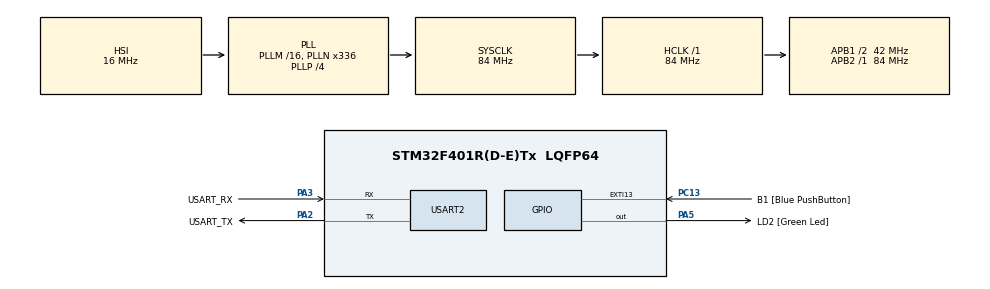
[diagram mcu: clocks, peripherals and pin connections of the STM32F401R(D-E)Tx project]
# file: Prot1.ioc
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Dma.Request0=USART2_RX
Dma.Request1=USART2_TX
Dma.USART2_RX.0.Direction=DMA_PERIPH_TO_MEMORY
Dma.USART2_RX.0.FIFOMode=DMA_FIFOMODE_DISABLE
Dma.USART2_RX.0.Instance=DMA1_Stream5
Dma.USART2_RX.0.MemDataAlignment=DMA_MDATAALIGN_BYTE
Dma.USART2_RX.0.MemInc=DMA_MINC_ENABLE
Dma.USART2_RX.0.Mode=DMA_NORMAL
Dma.USART2_RX.0.PeriphDataAlignment=DMA_PDATAALIGN_BYTE
Dma.USART2_RX.0.PeriphInc=DMA_PINC_DISABLE
Dma.USART2_RX.0.Priority=DMA_PRIORITY_LOW
Dma.USART2_TX.1.Direction=DMA_MEMORY_TO_PERIPH
Dma.USART2_TX.1.FIFOMode=DMA_FIFOMODE_DISABLE
Dma.USART2_TX.1.Instance=DMA1_Stream6
Dma.USART2_TX.1.MemDataAlignment=DMA_MDATAALIGN_BYTE
Dma.USART2_TX.1.MemInc=DMA_MINC_ENABLE
Dma.USART2_TX.1.Mode=DMA_NORMAL
Dma.USART2_TX.1.PeriphDataAlignment=DMA_PDATAALIGN_BYTE
Dma.USART2_TX.1.PeriphInc=DMA_PINC_DISABLE
Dma.USART2_TX.1.Priority=DMA_PRIORITY_LOW
Mcu.Family=STM32F4
Mcu.Name=STM32F401R(D-E)Tx
Mcu.Package=LQFP64
NVIC.DMA1_Stream5_IRQn=true\:0\:0\:false\:false\:true\:false\:true\:true
NVIC.DMA1_Stream6_IRQn=true\:0\:0\:false\:false\:true\:false\:true\:true
NVIC.PriorityGroup=NVIC_PRIORITYGROUP_0
NVIC.TIM3_IRQn=true\:0\:0\:false\:false\:true\:true\:true\:true
NVIC.USART2_IRQn=true\:0\:0\:false\:false\:true\:true\:true\:true
PA13.GPIO_Label=TMS
PA13.Mode=Serial_Wire
PA13.Signal=SYS_JTMS-SWDIO
PA14.GPIO_Label=TCK
PA14.Mode=Serial_Wire
PA14.Signal=SYS_JTCK-SWCLK
PA2.GPIO_Label=USART_TX
PA2.GPIO_Mode=GPIO_MODE_AF_PP
PA2.GPIO_PuPd=GPIO_NOPULL
PA2.GPIO_Speed=GPIO_SPEED_FREQ_LOW
PA2.Mode=Asynchronous
PA2.Signal=USART2_TX
PA3.GPIO_Label=USART_RX
PA3.GPIO_Mode=GPIO_MODE_AF_PP
PA3.GPIO_PuPd=GPIO_NOPULL
PA3.GPIO_Speed=GPIO_SPEED_FREQ_LOW
PA3.Mode=Asynchronous
PA3.Signal=USART2_RX
PA5.GPIO_Label=LD2 [Green Led]
PA5.GPIO_Mode=GPIO_MODE_OUTPUT_PP
PA5.GPIO_PuPd=GPIO_NOPULL
PA5.GPIO_Speed=GPIO_SPEED_FREQ_LOW
PA5.Signal=GPIO_Output
PB3.GPIO_Label=SWO
PB3.Signal=SYS_JTDO-SWO
PC13-ANTI_TAMP.GPIO_Label=B1 [Blue PushButton]
PC13-ANTI_TAMP.GPIO_ModeDefaultEXTI=GPIO_MODE_IT_FALLING
PC13-ANTI_TAMP.GPIO_PuPd=GPIO_NOPULL
PC13-ANTI_TAMP.Signal=GPXTI13
PC14-OSC32_IN.Mode=LSE-External-Oscillator
PC14-OSC32_IN.Signal=RCC_OSC32_IN
PC15-OSC32_OUT.Mode=LSE-External-Oscillator
PC15-OSC32_OUT.Signal=RCC_OSC32_OUT
PH0\ -\ OSC_IN.Mode=HSE-External-Clock-Source
PH0\ -\ OSC_IN.Signal=RCC_OSC_IN
PH1\ -\ OSC_OUT.Mode=HSE-External-Clock-Source
PH1\ -\ OSC_OUT.Signal=RCC_OSC_OUT
ProjectManager.HeapSize=0x200
ProjectManager.StackSize=0x400
ProjectManager.TargetToolchain=STM32CubeIDE
RCC.48MHZClocksFreq_Value=48000000
RCC.AHBFreq_Value=84000000
RCC.APB1CLKDivider=RCC_HCLK_DIV2
RCC.APB1Freq_Value=42000000
RCC.APB1TimFreq_Value=84000000
RCC.APB2Freq_Value=84000000
RCC.APB2TimFreq_Value=84000000
RCC.CortexFreq_Value=84000000
RCC.HCLKFreq_Value=84000000
RCC.HSE_VALUE=8000000
RCC.HSI_VALUE=16000000
RCC.PLLN=336
RCC.PLLP=RCC_PLLP_DIV4
RCC.PLLQ=7
RCC.SYSCLKFreq_VALUE=84000000
RCC.SYSCLKSource=RCC_SYSCLKSOURCE_PLLCLK
RCC.VCOOutputFreq_Value=336000000
TIM3.Period=8400
TIM3.Prescaler=100
USART2.VirtualMode=VM_ASYNC
VP_TIM3_VS_ClockSourceINT.Mode=Internal
board=NUCLEO-F401RE

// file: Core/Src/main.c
/* USER CODE BEGIN Header */
/**
  ******************************************************************************
  * @file           : main.c
  * @brief          : Main program body
  ******************************************************************************
  * @attention
  *
  * Copyright (c) 2023 STMicroelectronics.
  * All rights reserved.
  *
  * This software is licensed under terms that can be found in the LICENSE file
  * in the root directory of this software component.
  * If no LICENSE file comes with this software, it is provided AS-IS.
  *
  ******************************************************************************
  */
/* USER CODE END Header */
#include "main.h"

/* USER CODE BEGIN PTD */
typedef union{
    struct{
        uint8_t b0:1;
        uint8_t b1:1;
        uint8_t b2:1;
        uint8_t b3:1;
        uint8_t b4:1;
        uint8_t b5:1;
        uint8_t b6:1;
        uint8_t b7:1;
    }bit;
    uint8_t byte;
}flag;

/* USER CODE END PTD */

/* USER CODE BEGIN PM */
const char UNER[]="UNER";

#define CMD_ALIVE 0xD2
#define CMD_SENSORS 0xA0
#define CMD_MAG_SENSOR 0xA1
#define CMD_RFID_SENSOR 0xA2
#define CMD_EMERGENCY_STOP 0xB0

#define ALIVERECIVE flag1.bit.b0 //RECIBIO alive
#define SENSORS_RECIVE flag1.bit.b1 //RECIBIO COMANDO PARA ENVIAR VALORES SENSORES CADA CIERTO TIEMPO
#define FLAG2 flag1.bit.b2 //FLAG2
#define FLAG3 flag1.bit.b3 //FLAG3

/* USER CODE END PM */

TIM_HandleTypeDef htim3;

UART_HandleTypeDef huart2;
DMA_HandleTypeDef hdma_usart2_rx;
DMA_HandleTypeDef hdma_usart2_tx;

/* USER CODE BEGIN PV */

volatile flag flag1;

volatile uint8_t buffer_tx[256];

volatile uint8_t buffer_rx[256];

volatile uint8_t indR_rx = 0;
volatile uint8_t indW_rx = 0;

volatile uint8_t indR_tx = 0;
volatile uint8_t indW_tx = 0;
volatile uint8_t cksTX = 0;

volatile uint8_t listoSend = 0;

uint8_t timeoutSENSORS = 0;
uint8_t timeoutALIVE = 0;
uint16_t size=0;

uint32_t cmdUNERprotocol;
uint8_t bytesUNERprotocol;
/* USER CODE END PV */

void SystemClock_Config(void);
static void MX_GPIO_Init(void);
static void MX_DMA_Init(void);
static void MX_USART2_UART_Init(void);
static void MX_TIM3_Init(void);
/* USER CODE BEGIN PFP */
void HAL_UART_RxCpltCallback(UART_HandleTypeDef *huart);
void HAL_TIM_PeriodElapsedCallback(TIM_HandleTypeDef *htim);
void DecodeQT();
void DecodeCommands(uint8_t *buffer, uint8_t indexCMD);
void SendData(uint8_t cmd);
void uart();
/* USER CODE END PFP */

/* USER CODE BEGIN 0 */

void HAL_UART_RxCpltCallback(UART_HandleTypeDef *huart){ //funcion para saber cuando una transferencia se completo

	indW_rx++;
	HAL_UART_Receive_IT(&huart2, (uint8_t *) &buffer_rx[indW_rx], 1);
	//HAL_UART_Transmit_IT(&huart2, buffer_tx, strlen((char*)buffer_tx));
}

void HAL_TIM_PeriodElapsedCallback(TIM_HandleTypeDef *htim){

	//HAL_GPIO_TogglePin(LD2_GPIO_Port, LD2_Pin);
	//HAL_UART_Transmit_IT(&huart2, buffer_tx, strlen((char*)buffer_tx));
	if(SENSORS_RECIVE && timeoutSENSORS){
		timeoutSENSORS--;
	}
	timeoutALIVE--;
}

void uart(){

		/*if((huart2.Instance->SR & UART_FLAG_TXE)==UART_FLAG_TXE){
			huart2.Instance->DR=buffer_tx[indR_tx];
			indR_tx++;
		}*/
/*
	if(indW_tx > indR_tx){
			size = indW_tx - indR_tx;
	}else{
			size = 256 - indR_tx;
	}
	HAL_UART_Transmit_IT(&huart2, (uint8_t *) &buffer_tx, size);
	indR_tx++;*/
	        HAL_UART_Transmit_IT(&huart2, (uint8_t *) &buffer_tx[indR_tx], size);
	        indR_tx = indW_tx;
}

void DecodeQT(){
	static uint8_t i=0,step=0,cksQT,counter=1,cmdPosInBuff;

	switch(step){
		case 0:
			if(buffer_rx[indR_rx]==UNER[i]){
				i++;
				if(i==4){
					step++;
					i=0;
					//cksQT='U'^'N'^'E'^'R';
				}
			}else
				i=0;

			break;
		case 1:
			//HAL_GPIO_TogglePin(LD2_GPIO_Port, LD2_Pin);
			bytesUNERprotocol=buffer_rx[indR_rx];
			step++;
			//cksQT^=bytesUNERprotocol;
			break;
		case 2:
			if(buffer_rx[indR_rx]== 0x00){
				step++;
			}else{
				step=0;
			}
			break;
		case 3:
			if(buffer_rx[indR_rx]==':'){
				cksQT='U'^'N'^'E'^'R'^bytesUNERprotocol^0x00^':';
				step++;
				//HAL_GPIO_TogglePin(LD2_GPIO_Port, LD2_Pin);
			}else{
				step=0;
			}
			break;
		case 4:
			if(counter==1)
				cmdPosInBuff = indR_rx;
			if(counter<bytesUNERprotocol){
				cksQT^=buffer_rx[indR_rx];
				counter++;
			}else{
				if(cksQT==buffer_rx[indR_rx]){
					DecodeCommands((uint8_t*)&buffer_rx, cmdPosInBuff);
					//HAL_UART_Transmit_IT(&huart2, (uint8_t *) &buffer_tx, strlen((char*)buffer_tx));
					HAL_GPIO_TogglePin(LD2_GPIO_Port, LD2_Pin);
				}
				step=0;
				counter=1;
			}
			break;
	}
	indR_rx++;
}

void DecodeCommands(uint8_t *buffer, uint8_t indexCMD){

	switch(buffer[indexCMD]){
		case 0xA2://Enviar datos de sensor RFID a pantalla

		break;
		case 0xA1: //Enviar datos de sensor mag a pantalla

		break;
		case 0xA0:	//Enviar datos de sensores a pantalla
			timeoutSENSORS = 4;
			SENSORS_RECIVE = 1;
		break;
		case CMD_ALIVE: //ALIVE
			SendData(CMD_ALIVE);
		break;

		case 0xB0://Parada de emergencia
		break;
	}
}
void SendData(uint8_t cmd){

		buffer_tx[indW_tx++]='U';
		buffer_tx[indW_tx++]='N';
		buffer_tx[indW_tx++]='E';
		buffer_tx[indW_tx++]='R';

		switch(cmd){
			case CMD_ALIVE:
				buffer_tx[indW_tx++] = 0x02;
				buffer_tx[indW_tx++] = 0x00;
				buffer_tx[indW_tx++] = ':';
				buffer_tx[indW_tx++] = cmd;
			break;
			case CMD_MAG_SENSOR:
				buffer_tx[indW_tx++] = 0x08;
				buffer_tx[indW_tx++] = 0x00;
				buffer_tx[indW_tx++] = ':';
				buffer_tx[indW_tx++] = cmd;
				buffer_tx[indW_tx++] = 0x05; //1
				buffer_tx[indW_tx++] = 0x05; //2
				buffer_tx[indW_tx++] = 0x05; //3
				buffer_tx[indW_tx++] = 0x05; //4
				buffer_tx[indW_tx++] = 0x05; //5
				buffer_tx[indW_tx++] = 0x05; //6
			break;
			case CMD_RFID_SENSOR:
				buffer_tx[indW_tx++] = 0x08;
				buffer_tx[indW_tx++] = 0x00;
				buffer_tx[indW_tx++] = ':';
				buffer_tx[indW_tx++] = cmd;
				buffer_tx[indW_tx++] = 0x05; //1
				buffer_tx[indW_tx++] = 0x05; //2
				buffer_tx[indW_tx++] = 0x05; //3
				buffer_tx[indW_tx++] = 0x05; //4
				buffer_tx[indW_tx++] = 0x05; //5
				buffer_tx[indW_tx++] = 0x05; //6
			break;
			default:
			break;
		}

		cksTX=0;
		for(uint8_t i=0; i<indW_tx; i++) {
			cksTX^=buffer_tx[i];
			//pc.printf("%d - %x - %d   v: %d \n",i,cks,cks,tx[i]);
		}
		if(cksTX>0)
			buffer_tx[indW_tx++]=cksTX;

		//listoSend = 1;
	//HAL_UART_Transmit_IT(&huart2, (uint8_t *) &buffer_tx, indW_tx);

}

/* USER CODE END 0 */

int main(void)
{

  /* MCU Configuration--------------------------------------------------------*/

  /* Reset of all peripherals, Initializes the Flash interface and the Systick. */
  HAL_Init();

  /* Configure the system clock */
  SystemClock_Config();

  /* Initialize all configured peripherals */
  MX_GPIO_Init();
  MX_DMA_Init();
  MX_USART2_UART_Init();
  MX_TIM3_Init();
  /* USER CODE BEGIN 2 */
  HAL_UART_Receive_IT(&huart2, (uint8_t *) &buffer_rx[indW_rx], 1);
  HAL_TIM_Base_Start_IT(&htim3);
  /* USER CODE END 2 */

  /* Infinite loop */
  /* USER CODE BEGIN WHILE */
  while (1)
  {
	  //HAL_UART_Transmit_IT(&huart2, buffer_tx, strlen((char*)buffer_tx));
	  //HAL_Delay(1000);

	  if(indR_rx != indW_rx){
		  DecodeQT();
	  }

	  if(indR_tx != indW_tx){
		  if(indW_tx > indR_tx){
		        size = indW_tx - indR_tx;
		  }else{
		        size = 256 - indR_tx;
		  }
	  	  uart();
	  }
/*
	  if(!timeoutALIVE){
		  SendData(CMD_ALIVE);
		  timeoutALIVE = 100;
	  }
*/
	  if(!timeoutSENSORS){
		  SendData(CMD_MAG_SENSOR);
		  SendData(CMD_RFID_SENSOR);
		  timeoutSENSORS = 4;
	  }
    /* USER CODE END WHILE */

  }
}

void SystemClock_Config(void)
{
  RCC_OscInitTypeDef RCC_OscInitStruct = {0};
  RCC_ClkInitTypeDef RCC_ClkInitStruct = {0};

  /** Configure the main internal regulator output voltage
  */
  __HAL_RCC_PWR_CLK_ENABLE();
  __HAL_PWR_VOLTAGESCALING_CONFIG(PWR_REGULATOR_VOLTAGE_SCALE2);

  /** Initializes the RCC Oscillators according to the specified parameters
  * in the RCC_OscInitTypeDef structure.
  */
  RCC_OscInitStruct.OscillatorType = RCC_OSCILLATORTYPE_HSI;
  RCC_OscInitStruct.HSIState = RCC_HSI_ON;
  RCC_OscInitStruct.HSICalibrationValue = RCC_HSICALIBRATION_DEFAULT;
  RCC_OscInitStruct.PLL.PLLState = RCC_PLL_ON;
  RCC_OscInitStruct.PLL.PLLSource = RCC_PLLSOURCE_HSI;
  RCC_OscInitStruct.PLL.PLLM = 16;
  RCC_OscInitStruct.PLL.PLLN = 336;
  RCC_OscInitStruct.PLL.PLLP = RCC_PLLP_DIV4;
  RCC_OscInitStruct.PLL.PLLQ = 7;
  if (HAL_RCC_OscConfig(&RCC_OscInitStruct) != HAL_OK)
  {
    Error_Handler();
  }

  /** Initializes the CPU, AHB and APB buses clocks
  */
  RCC_ClkInitStruct.ClockType = RCC_CLOCKTYPE_HCLK|RCC_CLOCKTYPE_SYSCLK
                              |RCC_CLOCKTYPE_PCLK1|RCC_CLOCKTYPE_PCLK2;
  RCC_ClkInitStruct.SYSCLKSource = RCC_SYSCLKSOURCE_PLLCLK;
  RCC_ClkInitStruct.AHBCLKDivider = RCC_SYSCLK_DIV1;
  RCC_ClkInitStruct.APB1CLKDivider = RCC_HCLK_DIV2;
  RCC_ClkInitStruct.APB2CLKDivider = RCC_HCLK_DIV1;

  if (HAL_RCC_ClockConfig(&RCC_ClkInitStruct, FLASH_LATENCY_2) != HAL_OK)
  {
    Error_Handler();
  }
}

static void MX_TIM3_Init(void)
{

  TIM_ClockConfigTypeDef sClockSourceConfig = {0};
  TIM_MasterConfigTypeDef sMasterConfig = {0};

  htim3.Instance = TIM3;
  htim3.Init.Prescaler = 100;
  htim3.Init.CounterMode = TIM_COUNTERMODE_UP;
  htim3.Init.Period = 8400;
  htim3.Init.ClockDivision = TIM_CLOCKDIVISION_DIV1;
  htim3.Init.AutoReloadPreload = TIM_AUTORELOAD_PRELOAD_DISABLE;
  if (HAL_TIM_Base_Init(&htim3) != HAL_OK)
  {
    Error_Handler();
  }
  sClockSourceConfig.ClockSource = TIM_CLOCKSOURCE_INTERNAL;
  if (HAL_TIM_ConfigClockSource(&htim3, &sClockSourceConfig) != HAL_OK)
  {
    Error_Handler();
  }
  sMasterConfig.MasterOutputTrigger = TIM_TRGO_RESET;
  sMasterConfig.MasterSlaveMode = TIM_MASTERSLAVEMODE_DISABLE;
  if (HAL_TIMEx_MasterConfigSynchronization(&htim3, &sMasterConfig) != HAL_OK)
  {
    Error_Handler();
  }

}

static void MX_USART2_UART_Init(void)
{

  huart2.Instance = USART2;
  huart2.Init.BaudRate = 115200;
  huart2.Init.WordLength = UART_WORDLENGTH_8B;
  huart2.Init.StopBits = UART_STOPBITS_1;
  huart2.Init.Parity = UART_PARITY_NONE;
  huart2.Init.Mode = UART_MODE_TX_RX;
  huart2.Init.HwFlowCtl = UART_HWCONTROL_NONE;
  huart2.Init.OverSampling = UART_OVERSAMPLING_16;
  if (HAL_UART_Init(&huart2) != HAL_OK)
  {
    Error_Handler();
  }

}

static void MX_DMA_Init(void)
{

  /* DMA controller clock enable */
  __HAL_RCC_DMA1_CLK_ENABLE();

  /* DMA interrupt init */
  /* DMA1_Stream5_IRQn interrupt configuration */
  HAL_NVIC_SetPriority(DMA1_Stream5_IRQn, 0, 0);
  HAL_NVIC_EnableIRQ(DMA1_Stream5_IRQn);
  /* DMA1_Stream6_IRQn interrupt configuration */
  HAL_NVIC_SetPriority(DMA1_Stream6_IRQn, 0, 0);
  HAL_NVIC_EnableIRQ(DMA1_Stream6_IRQn);

}

static void MX_GPIO_Init(void)
{
  GPIO_InitTypeDef GPIO_InitStruct = {0};

  /* GPIO Ports Clock Enable */
  __HAL_RCC_GPIOC_CLK_ENABLE();
  __HAL_RCC_GPIOH_CLK_ENABLE();
  __HAL_RCC_GPIOA_CLK_ENABLE();
  __HAL_RCC_GPIOB_CLK_ENABLE();

  /*Configure GPIO pin Output Level */
  HAL_GPIO_WritePin(LD2_GPIO_Port, LD2_Pin, GPIO_PIN_RESET);

  /*Configure GPIO pin : B1_Pin */
  GPIO_InitStruct.Pin = B1_Pin;
  GPIO_InitStruct.Mode = GPIO_MODE_IT_FALLING;
  GPIO_InitStruct.Pull = GPIO_NOPULL;
  HAL_GPIO_Init(B1_GPIO_Port, &GPIO_InitStruct);

  /*Configure GPIO pin : LD2_Pin */
  GPIO_InitStruct.Pin = LD2_Pin;
  GPIO_InitStruct.Mode = GPIO_MODE_OUTPUT_PP;
  GPIO_InitStruct.Pull = GPIO_NOPULL;
  GPIO_InitStruct.Speed = GPIO_SPEED_FREQ_LOW;
  HAL_GPIO_Init(LD2_GPIO_Port, &GPIO_InitStruct);

}

void Error_Handler(void)
{
  __disable_irq();
  while (1)
  {
  }
}
